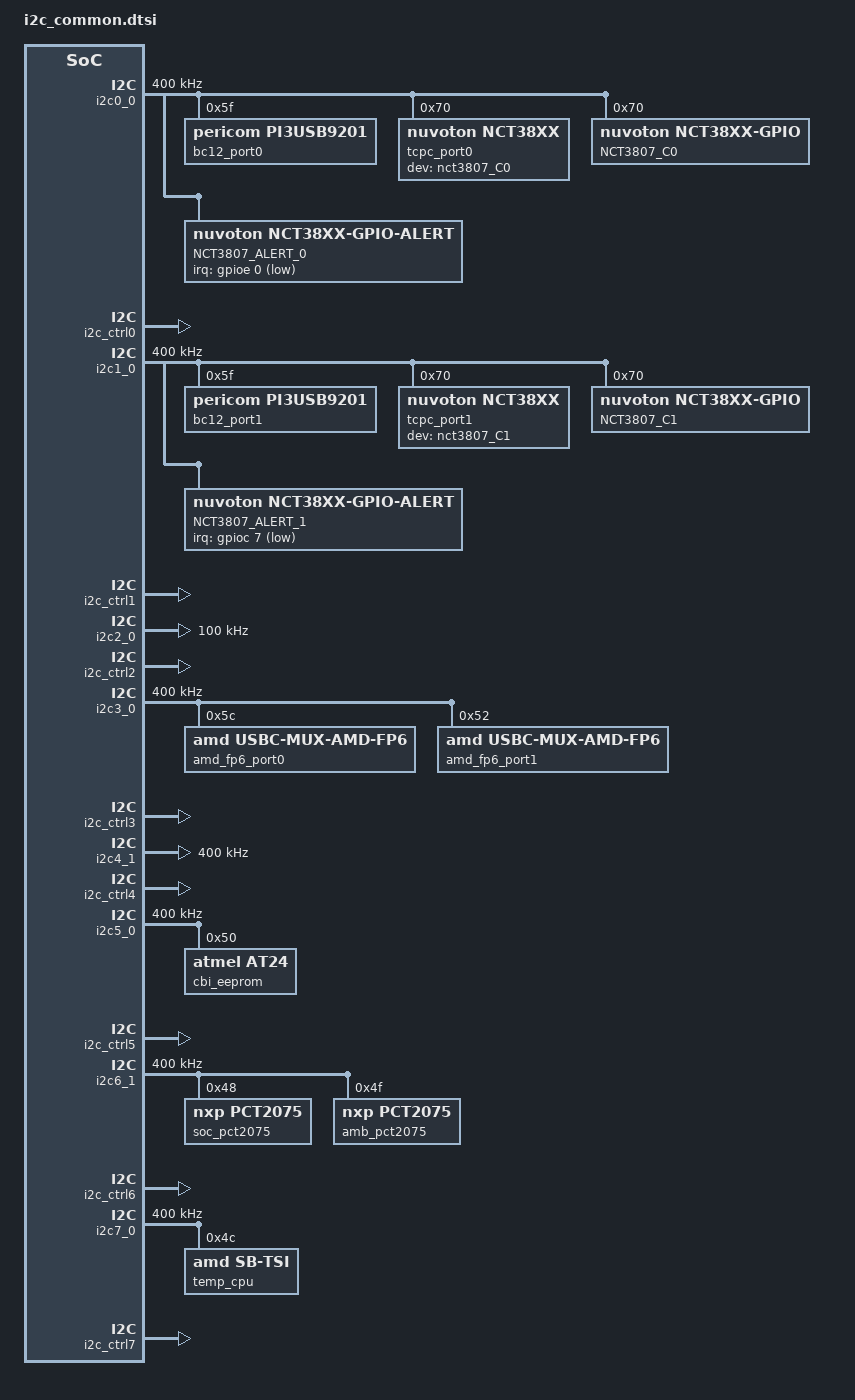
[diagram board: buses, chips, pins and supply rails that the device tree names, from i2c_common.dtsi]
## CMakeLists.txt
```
# Copyright 2021 The ChromiumOS Authors
# Use of this source code is governed by a BSD-style license that can be
# found in the LICENSE file.

cmake_minimum_required(VERSION 3.13.1)

find_package(Zephyr REQUIRED HINTS "${ZEPHYR_BASE}")

zephyr_library_sources("src/common.c")
zephyr_library_sources("src/power_signals.c")

zephyr_library_sources_ifdef(CONFIG_PLATFORM_EC_USBC
	"src/usb_pd_policy.c"
	"src/usbc_config.c")
zephyr_library_sources_ifdef(CONFIG_PLATFORM_EC_LED_COMMON
	"src/led.c")
zephyr_library_sources_ifdef(CONFIG_PLATFORM_EC_AMD_STT
	"src/stt.c")

if(DEFINED CONFIG_BOARD_SKYRIM)
	project(skyrim)
	add_subdirectory(skyrim)
endif()

if(DEFINED CONFIG_BOARD_WHITERUN)
	project(whiterun)
	add_subdirectory(whiterun)
endif()

if(DEFINED CONFIG_BOARD_FROSTFLOW)
	project(frostflow)
	add_subdirectory(frostflow)
endif()

if(DEFINED CONFIG_BOARD_CRYSTALDRIFT)
	project(crystaldrift)
	add_subdirectory(crystaldrift)
endif()

if(DEFINED CONFIG_BOARD_MARKARTH)
	project(markarth)
	add_subdirectory(markarth)
endif()
```

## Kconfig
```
# Copyright 2021 The ChromiumOS Authors
# Use of this source code is governed by a BSD-style license that can be
# found in the LICENSE file.

config BOARD_SKYRIM
	bool "Google Skyrim Board"
	help
	  Build Google Skyrim reference board.  This board uses an AMD SoC
	  and NPCX9 EC

config BOARD_WHITERUN
	bool "Google Whiterun Board"
	help
	  Build Google Whiterun reference board.  This board uses an AMD SoC
	  and NPCX9 EC

config BOARD_FROSTFLOW
	bool "Google Frostflow Board"
	help
	  Build Google Frostflow reference board.  This board uses an AMD SoC
	  and NPCX9 EC

config BOARD_CRYSTALDRIFT
	bool "Google Crystaldrift Board"
	help
	  Build Google Crystaldrift reference board.  This board uses an AMD SoC
	  and NPCX9 EC

config BOARD_MARKARTH
	bool "Google Markarth Board"
	help
	  Build Google Markarth reference board.  This board uses an AMD SoC
	  and NPCX9 EC

config BOARD_USB_HUB_RESET
	bool "Support USB hub reset or not"
	default y
	help
	  Enable this if your board has a USB hub reset GPIO connect to EC to
	  reset the USB hub.

module = SKYRIM
module-str = Skyrim board-specific code
source "subsys/logging/Kconfig.template.log_config"

source "Kconfig.zephyr"
```

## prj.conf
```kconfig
# Copyright 2021 The ChromiumOS Authors
# Use of this source code is governed by a BSD-style license that can be
# found in the LICENSE file.

CONFIG_CROS_EC=y
CONFIG_PLATFORM_EC=y
CONFIG_SHIMMED_TASKS=y
CONFIG_ESPI=y

# Shell features
CONFIG_SHELL_HELP=y
CONFIG_SHELL_HISTORY=y
CONFIG_SHELL_TAB=y
CONFIG_SHELL_TAB_AUTOCOMPLETION=y
CONFIG_KERNEL_SHELL=y

# Power sequencing
CONFIG_AP=y
CONFIG_AP_X86_AMD=y
CONFIG_PLATFORM_EC_POWERSEQ=y
CONFIG_PLATFORM_EC_POWER_BUTTON_TO_PCH_CUSTOM=y
CONFIG_PLATFORM_EC_POWER_SLEEP_FAILURE_DETECTION=y
CONFIG_PLATFORM_EC_POWERSEQ_RSMRST_DELAY=y
CONFIG_PLATFORM_EC_POWERSEQ_S0IX=y
CONFIG_PLATFORM_EC_POWERSEQ_CPU_PROCHOT_ACTIVE_LOW=y
CONFIG_PLATFORM_EC_PORT80=y

# Power button
CONFIG_PLATFORM_EC_POWER_BUTTON=y

# CBI
CONFIG_EEPROM=y
CONFIG_PLATFORM_EC_BOARD_VERSION_CBI=y

# Temperature Sensors
CONFIG_PLATFORM_EC_AMD_SB_RMI=y
CONFIG_PLATFORM_EC_AMD_STT=y
CONFIG_PLATFORM_EC_THROTTLE_AP=y
# An external prochot can only be triggered by the charger
# and during on the fan would increase current draw and make it worse.
CONFIG_PLATFORM_EC_THROTTLE_AP_NO_FAN=y
CONFIG_PLATFORM_EC_THROTTLE_AP_SINGLE_PIN=y

# External power
CONFIG_PLATFORM_EC_HOSTCMD=y
CONFIG_PLATFORM_EC_EXTPOWER_GPIO=y
CONFIG_PLATFORM_EC_BACKLIGHT_LID=y
CONFIG_PLATFORM_EC_BACKLIGHT_LID_ACTIVE_LOW=y

# Sensors
CONFIG_SENSOR=y
CONFIG_SENSOR_SHELL=n

# Lid switch
CONFIG_PLATFORM_EC_LID_ANGLE=y
CONFIG_PLATFORM_EC_LID_ANGLE_UPDATE=y
CONFIG_PLATFORM_EC_LID_SWITCH=y

# Keyboard
CONFIG_PLATFORM_EC_KBLIGHT_ENABLE_PIN=y
CONFIG_PLATFORM_EC_KEYBOARD_COL2_INVERTED=y
CONFIG_PLATFORM_EC_VOLUME_BUTTONS=y
CONFIG_PLATFORM_EC_KEYBOARD_PWRBTN_ASSERTS_KSI3=y
CONFIG_PLATFORM_EC_KEYBOARD_REFRESH_ROW3=y

# Syscon
CONFIG_SYSCON=y

# Battery
CONFIG_PLATFORM_EC_BATTERY_SMART=y
CONFIG_PLATFORM_EC_BATTERY_FUEL_GAUGE=y
CONFIG_PLATFORM_EC_BATTERY_CUT_OFF=y
CONFIG_PLATFORM_EC_BATTERY_REVIVE_DISCONNECT=y

# Charger
CONFIG_PLATFORM_EC_CHARGER_DISCHARGE_ON_AC=y
CONFIG_PLATFORM_EC_CHARGER_INPUT_CURRENT=512
CONFIG_PLATFORM_EC_CHARGER_MIN_INPUT_CURRENT_LIMIT=512
CONFIG_PLATFORM_EC_CHARGER_ISL9241=y
CONFIG_PLATFORM_EC_CHARGER_ISL9241_PROCHOT_DUMP=y
CONFIG_PLATFORM_EC_CHARGER_SENSE_RESISTOR=10
CONFIG_PLATFORM_EC_CHARGER_SENSE_RESISTOR_AC=20
CONFIG_PLATFORM_EC_CHARGER_MIN_POWER_MW_FOR_POWER_ON=50000

# USB-C
CONFIG_PLATFORM_EC_USBC_PPC_NX20P3483=y
CONFIG_PLATFORM_EC_USBC_PPC_AOZ1380=y
CONFIG_PLATFORM_EC_USBC_RETIMER_ANX7451=y
CONFIG_PLATFORM_EC_USBC_RETIMER_PS8811=y
CONFIG_PLATFORM_EC_USBC_RETIMER_PS8818=y
CONFIG_PLATFORM_EC_USBC_SS_MUX_DFP_ONLY=y
CONFIG_PLATFORM_EC_USB_MUX_AMD_FP6=y
CONFIG_PLATFORM_EC_USB_MUX_RUNTIME_CONFIG=y
CONFIG_PLATFORM_EC_USB_DRP_ACC_TRYSRC=y
CONFIG_PLATFORM_EC_USB_PID=0x505F
CONFIG_PLATFORM_EC_USB_PD_5V_EN_CUSTOM=y
CONFIG_PLATFORM_EC_USB_PD_VBUS_DETECT_TCPC=y
CONFIG_PLATFORM_EC_USB_PD_DISCHARGE_TCPC=y
CONFIG_PLATFORM_EC_USB_PD_DP_HPD_GPIO=y
CONFIG_PLATFORM_EC_USB_PD_FRS=y
CONFIG_PLATFORM_EC_USB_PD_FRS_TCPC=y
CONFIG_PLATFORM_EC_USB_PD_LOGGING=y
CONFIG_PLATFORM_EC_USB_PD_REV30=y
CONFIG_PLATFORM_EC_USB_PD_TBT_COMPAT_MODE=n
CONFIG_PLATFORM_EC_USB_PD_TCPC_LOW_POWER=y
CONFIG_PLATFORM_EC_USB_PD_TCPM_NCT38XX=y
CONFIG_PLATFORM_EC_USB_PD_TCPC_RUNTIME_CONFIG=n
CONFIG_PLATFORM_EC_USB_PD_USB4=n
CONFIG_PLATFORM_EC_USB_PD_VBUS_MEASURE_CHARGER=y
# Give ourselves enough task space to use i2ctrace
CONFIG_TASK_PD_STACK_SIZE=1280

# Motion sense
CONFIG_PLATFORM_EC_MOTIONSENSE=y
CONFIG_PLATFORM_EC_ACCEL_FIFO=y
CONFIG_PLATFORM_EC_CONSOLE_CMD_ACCELS=y
CONFIG_PLATFORM_EC_CONSOLE_CMD_ACCEL_INFO=y
CONFIG_PLATFORM_EC_LID_ANGLE=y
CONFIG_PLATFORM_EC_LID_ANGLE_UPDATE=y
CONFIG_PLATFORM_EC_SENSOR_TIGHT_TIMESTAMPS=y

CONFIG_PLATFORM_EC_MKBP_EVENT=y
CONFIG_PLATFORM_EC_MKBP_INPUT_DEVICES=y
CONFIG_PLATFORM_EC_MKBP_USE_GPIO=y

CONFIG_PLATFORM_EC_TABLET_MODE=y
CONFIG_PLATFORM_EC_TABLET_MODE_SWITCH=y
CONFIG_PLATFORM_EC_GMR_TABLET_MODE=y

CONFIG_PLATFORM_EC_ACCEL_BMA4XX=y
CONFIG_PLATFORM_EC_ACCELGYRO_BMI3XX=y
CONFIG_PLATFORM_EC_ACCELGYRO_BMI_COMM_I2C=y

# Misc.
CONFIG_PLATFORM_EC_I2C_DEBUG=y
CONFIG_PLATFORM_EC_PORT80_4_BYTE=y

# These are debug options that happen to be expensive in terms of flash space.
# Turn on as needed based on demand.
CONFIG_FLASH_PAGE_LAYOUT=n # 1876 bytes
CONFIG_FLASH_SHELL=n # 1852 bytes
CONFIG_PLATFORM_EC_CONSOLE_CMD_ACCEL_INFO=n # 656 bytes
CONFIG_PLATFORM_EC_CONSOLE_CMD_MEM=n # 896 bytes
# CONFIG_PLATFORM_EC_CONSOLE_CMD_TCPC_DUMP=n # 1180 bytes
CONFIG_PLATFORM_EC_CONSOLE_CMD_USB_PD_CABLE=n # 1104 bytes
CONFIG_THREAD_MONITOR=n # 1548 bytes
```

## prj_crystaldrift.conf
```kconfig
# Copyright 2022 The ChromiumOS Authors
# Use of this source code is governed by a BSD-style license that can be
# found in the LICENSE file.

# Crystaldrift reference-board-specific Kconfig settings.
CONFIG_BOARD_CRYSTALDRIFT=y

# CBI WP pin present
CONFIG_PLATFORM_EC_EEPROM_CBI_WP=y

# LED
CONFIG_PLATFORM_EC_LED_DT=y

# Crystaldrfit is capable of sinking 100W
CONFIG_PLATFORM_EC_PD_MAX_POWER_MW=100000
CONFIG_PLATFORM_EC_PD_MAX_CURRENT_MA=5000
CONFIG_PLATFORM_EC_PD_MAX_VOLTAGE_MV=20000

# Enable alternative charger chip
CONFIG_PLATFORM_EC_CHARGER_RUNTIME_CONFIG=y
CONFIG_PLATFORM_EC_CHARGER_ISL9238C=y

# Battery
CONFIG_PLATFORM_EC_BATTERY_PRESENT_GPIO=y
```

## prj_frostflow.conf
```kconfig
# Copyright 2022 The ChromiumOS Authors
# Use of this source code is governed by a BSD-style license that can be
# found in the LICENSE file.

# Frostflow reference-board-specific Kconfig settings.
CONFIG_BOARD_FROSTFLOW=y
CONFIG_PLATFORM_EC_CHARGER_INPUT_CURRENT_DERATE_PCT=10

# TODO(b/215404321): Remove later in board development
CONFIG_PLATFORM_EC_EEPROM_CBI_WP=y
CONFIG_PLATFORM_EC_SYSTEM_UNLOCKED=n

# Frostflow is capable of sinking 45W
CONFIG_PLATFORM_EC_PD_MAX_POWER_MW=45000
CONFIG_PLATFORM_EC_PD_MAX_CURRENT_MA=3000
CONFIG_PLATFORM_EC_PD_MAX_VOLTAGE_MV=20000
CONFIG_PLATFORM_EC_CHARGER_MIN_POWER_MW_FOR_POWER_ON=15000

# Keyboard
CONFIG_PLATFORM_EC_KEYBOARD_CUSTOMIZATION=y

# Frostflow not have the USB HUB
CONFIG_BOARD_USB_HUB_RESET=n

# Battery
CONFIG_PLATFORM_EC_BATTERY_PRESENT_GPIO=y
```

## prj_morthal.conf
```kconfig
# Copyright 2022 The ChromiumOS Authors
# Use of this source code is governed by a BSD-style license that can be
# found in the LICENSE file.

# Morthal reference-board-specific Kconfig settings.
CONFIG_BOARD_MORTHAL=y

# TODO(b/215404321): Remove later in board development
CONFIG_PLATFORM_EC_EEPROM_CBI_WP=y
CONFIG_PLATFORM_EC_SYSTEM_UNLOCKED=y

# LED
CONFIG_PLATFORM_EC_LED_DT=y

# Morthal is capable of sinking 100W
CONFIG_PLATFORM_EC_PD_MAX_POWER_MW=100000
CONFIG_PLATFORM_EC_PD_MAX_CURRENT_MA=5000
CONFIG_PLATFORM_EC_PD_MAX_VOLTAGE_MV=20000

# Battery
CONFIG_PLATFORM_EC_BATTERY_PRESENT_GPIO=y
```

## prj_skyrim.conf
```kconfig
# Copyright 2021 The ChromiumOS Authors
# Use of this source code is governed by a BSD-style license that can be
# found in the LICENSE file.

# Skyrim reference-board-specific Kconfig settings.
CONFIG_BOARD_SKYRIM=y

# CBI WP pin present
CONFIG_PLATFORM_EC_EEPROM_CBI_WP=y

# LED
CONFIG_PLATFORM_EC_LED_DT=y

# Skyrim is capable of sinking 100W
CONFIG_PLATFORM_EC_PD_MAX_POWER_MW=100000
CONFIG_PLATFORM_EC_PD_MAX_CURRENT_MA=5000
CONFIG_PLATFORM_EC_PD_MAX_VOLTAGE_MV=20000

# Enable alternative charger chip
CONFIG_PLATFORM_EC_CHARGER_RUNTIME_CONFIG=y
CONFIG_PLATFORM_EC_CHARGER_ISL9238C=y

# Battery
CONFIG_PLATFORM_EC_BATTERY_PRESENT_GPIO=y
```

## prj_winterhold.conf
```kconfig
# Copyright 2022 The ChromiumOS Authors
# Use of this source code is governed by a BSD-style license that can be
# found in the LICENSE file.

# Winterhold reference-board-specific Kconfig settings.
CONFIG_BOARD_WINTERHOLD=y

# TODO(b/215404321): Remove later in board development
CONFIG_PLATFORM_EC_EEPROM_CBI_WP=y
CONFIG_PLATFORM_EC_SYSTEM_UNLOCKED=y

CONFIG_PLATFORM_EC_USBC_RETIMER_ANX7483=y

# Enable charger chip
CONFIG_PLATFORM_EC_CHARGER_ISL9238=y
CONFIG_PLATFORM_EC_CHARGER_ISL9241=n

# Get the vbus voltage from TCPC
CONFIG_PLATFORM_EC_USB_PD_VBUS_MEASURE_CHARGER=n
CONFIG_PLATFORM_EC_USB_PD_VBUS_MEASURE_TCPC=y

# Remove unused sensor
CONFIG_PLATFORM_EC_ACCEL_BMA4XX=n

# Support LIS2DW12 sensor
CONFIG_PLATFORM_EC_ACCEL_LIS2DW12=y

# Disable lid configuration
CONFIG_PLATFORM_EC_LID_ANGLE=n
CONFIG_PLATFORM_EC_LID_ANGLE_UPDATE=n

# Disable tablet mode configuration
CONFIG_PLATFORM_EC_TABLET_MODE=n
CONFIG_PLATFORM_EC_TABLET_MODE_SWITCH=n
CONFIG_PLATFORM_EC_GMR_TABLET_MODE=n

# Battery
CONFIG_PLATFORM_EC_BATTERY_HW_PRESENT_CUSTOM=y

# Body detection configuration
CONFIG_PLATFORM_EC_BODY_DETECTION=y
CONFIG_PLATFORM_EC_BODY_DETECTION_ALWAYS_ENABLE_IN_S0=y
CONFIG_PLATFORM_EC_BODY_DETECTION_NOTIFY_MODE_CHANGE=y
CONFIG_PLATFORM_EC_GESTURE_HOST_DETECTION=y
```

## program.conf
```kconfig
# Copyright 2021 The ChromiumOS Authors
# Use of this source code is governed by a BSD-style license that can be
# found in the LICENSE file.

CONFIG_CROS_EC=y
CONFIG_PLATFORM_EC=y
CONFIG_ESPI=y

# Shell features
CONFIG_SHELL_HISTORY=y
CONFIG_SHELL_TAB=y
CONFIG_SHELL_TAB_AUTOCOMPLETION=y
CONFIG_KERNEL_SHELL=y

# Power sequencing
CONFIG_AP=y
CONFIG_AP_X86_AMD=y
CONFIG_PLATFORM_EC_CHIPSET_RESET_HOOK=y
CONFIG_PLATFORM_EC_POWERSEQ=y
CONFIG_PLATFORM_EC_POWER_BUTTON_TO_PCH_CUSTOM=y
CONFIG_PLATFORM_EC_POWER_SLEEP_FAILURE_DETECTION=y
CONFIG_PLATFORM_EC_POWERSEQ_RSMRST_DELAY=y
CONFIG_PLATFORM_EC_POWERSEQ_S0IX=y
CONFIG_PLATFORM_EC_POWERSEQ_CPU_PROCHOT_ACTIVE_LOW=y
CONFIG_PLATFORM_EC_PORT80=y

# Power button
CONFIG_PLATFORM_EC_POWER_BUTTON=y

# CBI
CONFIG_EEPROM=y
CONFIG_PLATFORM_EC_BOARD_VERSION_CBI=y
CONFIG_PLATFORM_EC_EEPROM_CBI_WP=y

# Temperature Sensors
CONFIG_PLATFORM_EC_AMD_SB_RMI=y
CONFIG_PLATFORM_EC_AMD_STT=y
CONFIG_PLATFORM_EC_THROTTLE_AP=y
# An external prochot can only be triggered by the charger
# and during on the fan would increase current draw and make it worse.
CONFIG_PLATFORM_EC_THROTTLE_AP_NO_FAN=y
CONFIG_PLATFORM_EC_THROTTLE_AP_SINGLE_PIN=y

# External power
CONFIG_PLATFORM_EC_HOSTCMD=y
CONFIG_PLATFORM_EC_EXTPOWER_GPIO=y
CONFIG_PLATFORM_EC_BACKLIGHT_LID=y
CONFIG_PLATFORM_EC_BACKLIGHT_LID_ACTIVE_LOW=y

# Lid switch
CONFIG_PLATFORM_EC_LID_ANGLE=y
CONFIG_PLATFORM_EC_LID_ANGLE_UPDATE=y
CONFIG_PLATFORM_EC_LID_SWITCH=y

# Keyboard
CONFIG_PLATFORM_EC_KEYBOARD_PROTOCOL_8042=y
CONFIG_PLATFORM_EC_KBLIGHT_ENABLE_PIN=y
CONFIG_PLATFORM_EC_KBLIGHT_HOOK_INIT=y
CONFIG_PLATFORM_EC_KEYBOARD_COL2_INVERTED=y
CONFIG_PLATFORM_EC_VOLUME_BUTTONS=y
CONFIG_PLATFORM_EC_KEYBOARD_REFRESH_ROW3=y

# Syscon
CONFIG_SYSCON=y

# Battery
CONFIG_PLATFORM_EC_BATTERY_FUEL_GAUGE=y
CONFIG_PLATFORM_EC_BATTERY_CUT_OFF=y
CONFIG_PLATFORM_EC_BATTERY_REVIVE_DISCONNECT=y
CONFIG_PLATFORM_EC_SMBUS_PEC=y

# Charger
CONFIG_PLATFORM_EC_CHARGER_DISCHARGE_ON_AC=y
CONFIG_PLATFORM_EC_CHARGER_DEFAULT_CURRENT_LIMIT=512
CONFIG_PLATFORM_EC_CHARGER_ISL9241=y
CONFIG_PLATFORM_EC_CHARGER_DUMP_PROCHOT=y
CONFIG_PLATFORM_EC_CHARGER_SENSE_RESISTOR=10
CONFIG_PLATFORM_EC_CHARGER_SENSE_RESISTOR_AC=20
CONFIG_PLATFORM_EC_CHARGER_SET_FREQUENCY=y
CONFIG_PLATFORM_EC_CHARGER_MIN_POWER_MW_FOR_POWER_ON=50000
CONFIG_PLATFORM_EC_CHARGER_AC_PROCHOT_CURRENT_MA=3328
CONFIG_PLATFORM_EC_CHARGER_DC_PROCHOT_CURRENT_MA=6570

# USB-C
CONFIG_PLATFORM_EC_USBC_RETIMER_ANX7451=y
CONFIG_PLATFORM_EC_USBC_RETIMER_PS8811=y
CONFIG_PLATFORM_EC_USBC_SS_MUX_DFP_ONLY=y
CONFIG_PLATFORM_EC_USB_MUX_RUNTIME_CONFIG=y
CONFIG_PLATFORM_EC_USB_DRP_ACC_TRYSRC=y
CONFIG_PLATFORM_EC_USB_PID=0x505F
CONFIG_PLATFORM_EC_USB_PD_5V_EN_CUSTOM=y
CONFIG_PLATFORM_EC_USB_PD_VBUS_DETECT_TCPC=y
CONFIG_PLATFORM_EC_USB_PD_DISCHARGE_TCPC=y
CONFIG_PLATFORM_EC_USB_PD_DP_HPD_GPIO=y
CONFIG_PLATFORM_EC_USB_PD_FRS=y
CONFIG_PLATFORM_EC_USB_PD_FRS_TCPC=y
CONFIG_PLATFORM_EC_USB_PD_LOGGING=y
CONFIG_PLATFORM_EC_USB_PD_REV30=y
CONFIG_PLATFORM_EC_USB_PD_TBT_COMPAT_MODE=n
CONFIG_PLATFORM_EC_USB_PD_TCPC_LOW_POWER=y
CONFIG_PLATFORM_EC_USB_PD_TCPC_RUNTIME_CONFIG=n
CONFIG_PLATFORM_EC_USB_PD_USB4=n
CONFIG_PLATFORM_EC_USB_PD_VBUS_MEASURE_CHARGER=y
# Give ourselves enough task space to use i2ctrace
CONFIG_TASK_PD_STACK_SIZE=1280

# Motion sense
CONFIG_PLATFORM_EC_MAX_SENSOR_FREQ_MILLIHZ=100000
CONFIG_PLATFORM_EC_ACCEL_FIFO=y
CONFIG_PLATFORM_EC_CONSOLE_CMD_ACCELS=y
CONFIG_PLATFORM_EC_CONSOLE_CMD_ACCEL_INFO=y
CONFIG_PLATFORM_EC_LID_ANGLE=y
CONFIG_PLATFORM_EC_LID_ANGLE_UPDATE=y
CONFIG_PLATFORM_EC_SENSOR_TIGHT_TIMESTAMPS=y

CONFIG_PLATFORM_EC_MKBP_EVENT=y
CONFIG_PLATFORM_EC_MKBP_INPUT_DEVICES=y
CONFIG_PLATFORM_EC_MKBP_USE_GPIO=y

CONFIG_PLATFORM_EC_TABLET_MODE=y
CONFIG_PLATFORM_EC_TABLET_MODE_SWITCH=y
CONFIG_PLATFORM_EC_GMR_TABLET_MODE=y

CONFIG_PLATFORM_EC_ACCELGYRO_BMI3XX=y
CONFIG_PLATFORM_EC_ACCELGYRO_BMI_COMM_I2C=y

# Misc.
CONFIG_PLATFORM_EC_AMD_STB_DUMP=y
CONFIG_PLATFORM_EC_EMULATED_SYSRQ=y
CONFIG_PLATFORM_EC_PORT80_4_BYTE=y
# I2C passthrough isn't used on skyrim
CONFIG_PLATFORM_EC_I2C_PASSTHRU_RESTRICTED=y

# Panic Log for improved panic debugging
CONFIG_PLATFORM_EC_PANIC_LOG=y

# Watchdog
CONFIG_PLATFORM_EC_WATCHDOG_PERIOD_MS=2000

# These are debug options that happen to be expensive in terms of flash space.
# Turn on as needed based on demand.
CONFIG_PLATFORM_EC_ACCEL_SPOOF_MODE=y # 548 bytes
CONFIG_PLATFORM_EC_CONSOLE_CMD_ACCEL_INFO=n # 656 bytes
CONFIG_PLATFORM_EC_CONSOLE_CMD_MEM=n # 896 bytes
CONFIG_PLATFORM_EC_CONSOLE_CMD_TCPC_DUMP=n # 1180 bytes
CONFIG_PLATFORM_EC_CONSOLE_CMD_USB_PD_CABLE=n # 1104 bytes
CONFIG_SHELL_HELP=n # 3432 bytes
CONFIG_THREAD_MONITOR=n # 1548 bytes
CONFIG_PLATFORM_EC_DEBUG_ASSERT=n

# Upstream Zephyr Host Command
CONFIG_EC_HOST_CMD=y
```

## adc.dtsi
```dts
/* Copyright 2021 The ChromiumOS Authors
 * Use of this source code is governed by a BSD-style license that can be
 * found in the LICENSE file.
 */

#include <cros/thermistor/thermistor.dtsi>

/ {
	named-adc-channels {
		compatible = "named-adc-channels";

		adc_temp_charger: temp-charger {
			enum-name = "ADC_TEMP_SENSOR_CHARGER";
			io-channels = <&adc0 1>;
		};
		adc_temp_memory: temp-memory {
			enum-name = "ADC_TEMP_SENSOR_MEMORY";
			io-channels = <&adc0 2>;
		};
		adc_core_imon1: core-imon1 {
			enum-name = "ADC_CORE_IMON1";
			io-channels = <&adc0 3>;
		};
		adc_core_imon2: core-imon2 {
			enum-name = "ADC_SOC_IMON2";
			io-channels = <&adc0 4>;
		};
	};

	temp_charger_thermistor: charger-thermistor {
		compatible = "cros-ec,temp-sensor-thermistor";
		thermistor = <&thermistor_3V3_30K9_47K_4050B>;
		adc = <&adc_temp_charger>;
	};

	temp_memory_thermistor: memory-thermistor {
		compatible = "cros-ec,temp-sensor-thermistor";
		thermistor = <&thermistor_3V3_30K9_47K_4050B>;
		adc = <&adc_temp_memory>;
	};

	named-temp-sensors {
		compatible = "cros-ec,temp-sensors";
		temp_sensor_charger: charger-thermistor {
			temp-host-high = <100>;
			temp-host-halt = <105>;
			temp-host-release-high = <80>;
			sensor = <&temp_charger_thermistor>;
		};

		temp_sensor_memory: memory-thermistor {
			temp-host-high = <100>;
			temp-host-halt = <105>;
			temp-host-release-high = <80>;
			power-good-pin = <&gpio_pg_pwr_s5>;
			sensor = <&temp_memory_thermistor>;
		};

		temp_sensor_cpu: cpu {
			temp-host-high = <100>;
			temp-host-halt = <105>;
			temp-host-release-high = <80>;
			temp-fan-off = <60>;
			temp-fan-max = <90>;
			power-good-pin = <&gpio_s0_pgood>;
			sensor = <&temp_cpu>;
		};
	};
};

&adc0 {
	status = "okay";
	pinctrl-0 = <&adc0_chan1_gp44
		     &adc0_chan2_gp43
		     &adc0_chan3_gp42
		     &adc0_chan4_gp41>;
	pinctrl-names = "default";
};

&thermistor_3V3_30K9_47K_4050B {
	status = "okay";
};
```

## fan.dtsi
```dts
/* Copyright 2021 The ChromiumOS Authors
 * Use of this source code is governed by a BSD-style license that can be
 * found in the LICENSE file.
 */

/ {
	fans {
		compatible = "cros-ec,fans";

		fan0: fan_0 {
			pwms = <&pwm0 0 PWM_KHZ(25) PWM_POLARITY_NORMAL>;
			rpm-min = <3100>;
			rpm-start = <3100>;
			rpm-max = <8000>;
			tach = <&tach1>;
			pgood-gpio = <&gpio_s0_pgood>;
		};
	};
};

/* Tachemeter for fan speed measurement */
&tach1 {
	status = "okay";
	pinctrl-0 = <&ta1_1_in_gp40>;
	pinctrl-names = "default";
	port = <NPCX_TACH_PORT_A>; /* port-A is selected */
	sample-clk = <NPCX_TACH_FREQ_LFCLK>; /* Use LFCLK as sampling clock */
	pulses-per-round = <2>; /* number of pulses per round of encoder */
};

&pwm0_gpc3 {
	drive-open-drain;
};

&pwm0 {
	status = "okay";
	pinctrl-0 = <&pwm0_gpc3>;
	pinctrl-names = "default";
};
```

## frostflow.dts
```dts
/* Copyright 2022 The ChromiumOS Authors
 * Use of this source code is governed by a BSD-style license that can be
 * found in the LICENSE file.
 */

#include <dt-bindings/usbc_mux.h>

#include "i2c_common.dtsi"

/ {
	named-gpios {
		/* Frostflow-specific GPIO customizations */
	};

	named-temp-sensors {
		compatible = "cros-ec,temp-sensors";
		temp_soc: soc-pct2075 {
			temp_host_high = <75>;
			temp_host_halt = <80>;
			temp_host_release_high = <65>;
			temp_host_release_halt = <70>;
			power-good-pin = <&gpio_pg_pwr_s5>;
			sensor = <&soc_pct2075>;
		};
		temp_amb: amb-pct2075 {
			temp_host_high = <65>;
			temp_host_halt = <70>;
			temp_host_release_high = <55>;
			temp_host_release_halt = <60>;
			temp_fan_off = <32>;
			temp_fan_max = <45>;
			power-good-pin = <&gpio_pg_pwr_s5>;
			sensor = <&amb_pct2075>;
		};
	};

	/* Rotation matrices for motion sensors. */
	motionsense-rotation-ref {
		compatible = "cros-ec,motionsense-rotation-ref";
		lid_rot_ref: lid-rotation-ref {
			mat33 = <1 0 0
				 0 1 0
				 0 0 1>;
		};

		base_rot_ref: base-rotation-ref {
			mat33 = <0 1 0
				 1 0 0
				 0 0 (-1)>;
		};
	};

	ppc_port0: aoz1380 {
		compatible = "aoz,aoz1380";
		status = "okay";
	};

	fan_steps {
		compatible = "cros-ec,fan-steps";
		level_0 {
			temp_on = <(-1) (-1) (-1) (-1) 31>;
			temp_off = <(-1) (-1) (-1) (-1) 99>;
			rpm_target = <0>;
		};
		level_1 {
			temp_on = <(-1) (-1) (-1) (-1) 32>;
			temp_off = <(-1) (-1) (-1) (-1) 30>;
			rpm_target = <2600>;
		};
		level_2 {
			temp_on = <(-1) (-1) (-1) (-1) 34>;
			temp_off = <(-1) (-1) (-1) (-1) 31>;
			rpm_target = <2900>;
		};
		level_3 {
			temp_on = <(-1) (-1) (-1) (-1) 36>;
			temp_off = <(-1) (-1) (-1) (-1) 33>;
			rpm_target = <3600>;
		};
		level_4 {
			temp_on = <(-1) (-1) (-1) (-1) 38>;
			temp_off = <(-1) (-1) (-1) (-1) 35>;
			rpm_target = <4200>;
		};
		level_5 {
			temp_on = <(-1) (-1) (-1) (-1) 45>;
			temp_off = <(-1) (-1) (-1) (-1) 37>;
			rpm_target = <4600>;
		};
	};
};

&i2c1_0 {
	ppc_port1: nx20p348x@71 {
		compatible = "nxp,nx20p348x";
		status = "okay";
		reg = <0x71>;
	};
	ps8818_port1: ps8818@28 {
		compatible = "parade,ps8818";
		reg = <0x28>;
		flags = <(USB_MUX_FLAG_RESETS_IN_G3)>;
		board-set = "board_c1_ps8818_mux_set";
	};
};

&i2c4_1 {
	charger: isl9241@9 {
		compatible = "intersil,isl9241";
		status = "okay";
		reg = <0x9>;
	};
};

&amd_fp6_port0 {
	board-set = "board_c0_amd_fp6_mux_set";
};

&usbc_port0 {
	ppc = <&ppc_port0>;
	usb-mux-chain-0 {
		compatible = "cros-ec,usb-mux-chain";
		usb-muxes = <&amd_fp6_port0>;
	};
};

&usbc_port1 {
	ppc = <&ppc_port1>;
	usb-mux-chain-1-ps8818 {
		compatible = "cros-ec,usb-mux-chain";
		usb-muxes = <&amd_fp6_port1 &ps8818_port1>;
	};
};

&cros_kb_raw {
	pinctrl-0 = <
		&ksi0_gp31
		&ksi1_gp30
		&ksi2_gp27
		&ksi3_gp26
		&ksi4_gp25
		&ksi5_gp24
		&ksi6_gp23
		&ksi7_gp22
		&kso00_gp21
		&kso01_gp20
		&kso03_gp16
		&kso04_gp15
		&kso05_gp14
		&kso06_gp13
		&kso07_gp12
		&kso08_gp11
		&kso09_gp10
		&kso10_gp07
		&kso11_gp06
		&kso12_gp05
		&kso13_gp04
		&kso14_gp82
	>;
};

&temp_sensor_charger {
	temp_host_high = <75>;
	temp_host_halt = <80>;
	temp_host_release_high = <65>;
	temp_host_release_halt = <70>;
};

&temp_sensor_memory {
	temp_host_high = <75>;
	temp_host_halt = <80>;
	temp_host_release_high = <65>;
	temp_host_release_halt = <70>;
};

&temp_sensor_cpu {
	/delete-property/ temp_host_high;
	/delete-property/ temp_host_halt;
	/delete-property/ temp_host_release_high;
	/delete-property/ temp_fan_off;
	/delete-property/ temp_fan_max;
};

&fan0 {
	pwms = <&pwm0 0 PWM_KHZ(25) PWM_POLARITY_NORMAL>;
	rpm_min = <2400>;
	rpm_start = <2600>;
	rpm_max = <4600>;
};
```

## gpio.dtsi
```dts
<<<<<<< HEAD   (c8af73 Revert "Merge remote-tracking branch cros/main into factory-)
=======
/* Copyright 2021 The ChromiumOS Authors
 * Use of this source code is governed by a BSD-style license that can be
 * found in the LICENSE file.
 */

/ {
	aliases {
		gpio-wp = &gpio_wp;
		gpio-cbi-wp = &gpio_cbi_wp;
		gpio-kbd-kso2 = &gpio_ec_kso_02_inv;
	};

	/* GPIOs shared by all boards */
	named-gpios {
		compatible = "named-gpios";

		ccd_mode_odl {
			gpios = <&gpioc 6 GPIO_ODR_HIGH>;
		};
		ec_gsc_packet_mode {
			gpios = <&gpiob 1 GPIO_OUTPUT_LOW>;
			enum-name = "GPIO_PACKET_MODE_EN";
		};
		gpio_mech_pwr_btn_odl: mech_pwr_btn_odl {
			gpios = <&gpiod 2 GPIO_INPUT>;
			enum-name = "GPIO_POWER_BUTTON_L";
		};
		gpio_slp_s3_l: slp_s3_l {
			gpios = <&gpio6 1 GPIO_INPUT>;
			enum-name = "GPIO_PCH_SLP_S3_L";
			alias = "GPIO_PCH_SLP_S0_L";
		};
		gpio_slp_s5_l: slp_s5_l {
			gpios = <&gpio7 2 GPIO_INPUT>;
			enum-name = "GPIO_PCH_SLP_S5_L";
		};
		gpio_pg_pwr_s5: pg_pwr_s5 {
			gpios = <&gpioc 0 GPIO_INPUT>;
			enum-name = "GPIO_S5_PGOOD";
		};
		gpio_s0_pgood: pg_pcore_s0_r_od {
			gpios = <&gpiob 6 GPIO_INPUT>;
			enum-name = "GPIO_S0_PGOOD";
		};
		gpio_acok_od: acok_od {
			gpios = <&gpio0 0 GPIO_INPUT>;
			enum-name = "GPIO_AC_PRESENT";
		};
		gpio_en_pwr_s5: en_pwr_s5 {
			gpios = <&gpiob 7 GPIO_OUTPUT_LOW>;
			enum-name = "GPIO_EN_PWR_A";
		};
		gpio_en_pwr_s0_r: en_pwr_s0_r {
			gpios = <&gpiof 1 GPIO_OUTPUT_LOW>;
		};
		gpio_en_pwr_pcore_s0_r: en_pwr_pcore_s0_r {
			gpios = <&gpioe 1 GPIO_OUTPUT_LOW>;
		};
		ec_sys_rst_l {
			gpios = <&gpio7 6 GPIO_ODR_HIGH>;
			enum-name = "GPIO_SYS_RESET_L";
		};
		gpio_ec_soc_rsmrst_l: ec_soc_rsmrst_l {
			gpios = <&gpioc 5 GPIO_OUTPUT_LOW>;
			enum-name = "GPIO_PCH_RSMRST_L";
		};
		gpio_ec_pch_wake_odl: ec_soc_wake_l {
			gpios = <&gpio0 3 GPIO_OUTPUT_HIGH>;
		};
		gpio_prochot_odl: prochot_odl {
			gpios = <&gpiod 5 GPIO_ODR_HIGH>;
			enum-name = "GPIO_CPU_PROCHOT";
		};
		soc_alert_ec_l {
			gpios = <&gpioe 2 GPIO_INPUT>;
		};
		gpio_usb_c0_tcpc_int_odl: usb_c0_tcpc_int_odl {
			gpios = <&gpioe 0 GPIO_INPUT>;
			enum-name = "GPIO_USB_C0_TCPC_INT_ODL";
		};
		gpio_usb_c1_tcpc_int_odl: usb_c1_tcpc_int_odl {
			gpios = <&gpioc 7 GPIO_INPUT>;
			enum-name = "GPIO_USB_C1_TCPC_INT_ODL";
		};
		gpio_usb_c0_ppc_int_odl: usb_c0_ppc_int_odl {
			gpios = <&gpio7 5 GPIO_INPUT>;
			enum-name = "GPIO_USB_C0_PPC_INT_ODL";
		};
		gpio_usb_c1_ppc_int_odl: usb_c1_ppc_int_odl {
			gpios = <&gpiod 4 GPIO_INPUT>;
			enum-name = "GPIO_USB_C1_PPC_INT_ODL";
		};
		gpio_usb_c0_bc12_int_odl: usb_c0_bc12_int_odl {
			gpios = <&gpioa 4 GPIO_INPUT_PULL_UP>;
			enum-name = "GPIO_USB_C0_BC12_INT_ODL";
		};
		gpio_usb_c1_bc12_int_odl: usb_c1_bc12_int_odl {
			gpios = <&gpio9 6 GPIO_INPUT_PULL_UP>;
			enum-name = "GPIO_USB_C1_BC12_INT_ODL";
		};
		gpio_usb_c0_tcpc_rst_l: usb_c0_tcpc_rst_l {
			gpios = <&gpio3 4 GPIO_OUTPUT_HIGH>;
			enum-name = "GPIO_USB_C0_TCPC_RST_L";
		};
		gpio_usb_c1_tcpc_rst_l: usb_c1_tcpc_rst_l {
			gpios = <&gpio3 7 GPIO_OUTPUT_HIGH>;
			enum-name = "GPIO_USB_C1_TCPC_RST_L";
		};
		usb_c0_hpd {
			gpios = <&gpiof 5 GPIO_OUTPUT_LOW>;
			enum-name = "GPIO_USB_C0_DP_HPD";
		};
		usb_c1_hpd {
			gpios = <&gpiof 4 GPIO_OUTPUT_LOW>;
			enum-name = "GPIO_USB_C1_DP_HPD";
		};
		gpio_lid_open: lid_open {
			gpios = <&gpio0 2 GPIO_INPUT>;
			enum-name = "GPIO_LID_OPEN";
		};
		gpio_ec_batt_pres_odl: ec_batt_pres_odl {
			gpios = <&gpio9 4 GPIO_INPUT>;
			enum-name = "GPIO_BATT_PRES_ODL";
		};
		gpio_ec_disable_disp_bl: ec_disable_disp_bl {
			gpios = <&gpioa 6 GPIO_OUTPUT_HIGH>;
			enum-name = "GPIO_ENABLE_BACKLIGHT_L";
		};
		gpio_usb_fault_odl: usb_fault_odl {
			gpios = <&gpio5 0 (GPIO_ODR_HIGH | GPIO_VOLTAGE_1P8)>;
		};
		gpio_en_pwr_s3: en_pwr_s3 {
			gpios = <&gpio7 4 GPIO_OUTPUT_LOW>;
		};
		gpio_pg_groupc_s0_od: pg_groupc_s0_od {
			gpios = <&gpiof 0 GPIO_INPUT>;
		};
		gpio_ec_i2c_usbc_pd_int: ec_i2c_usbc_pd_int {
			gpios = <&gpioa 3 GPIO_INPUT>;
		};
		gpio_soc_thermtrip_odl: soc_thermtrip_odl {
			gpios = <&gpio9 5 GPIO_INPUT>;
		};
		gpio_hub_rst: hub_rst {
			gpios = <&gpio6 6 GPIO_OUTPUT_HIGH>;
		};
		ec_soc_int_l {
			gpios = <&gpioa 1 GPIO_OUTPUT_HIGH>;
			enum-name = "GPIO_EC_INT_L";
		};
		gpio_ec_soc_pwr_good: ec_soc_pwr_good {
			gpios = <&gpiod 3 GPIO_OUTPUT_LOW>;
		};
		gpio_pcore_ocp_r_l: pcore_ocp_r_l {
			gpios = <&gpioa 5 GPIO_INPUT>;
		};
		gpio_usb_hub_fault_q_odl: usb_hub_fault_q_odl {
			gpios = <&gpioe 5 GPIO_INPUT_PULL_UP>;
		};
		gpio_pg_lpddr5_s3_od: pg_lpddr5_s3_od {
			gpios = <&gpio7 3 GPIO_INPUT>;
		};
		3axis_int_l {
			gpios = <&gpioa 2 GPIO_INPUT_PULL_UP>;
		};
		gpio_ec_soc_pwr_btn_l: ec_soc_pwr_btn_l {
			gpios = <&gpioa 7 GPIO_OUTPUT_HIGH>;
			enum-name = "GPIO_PCH_PWRBTN_L";
		};
		gpio_volup_btn_odl: volup_btn_odl {
			gpios = <&gpio6 7 GPIO_INPUT_PULL_UP>;
			enum-name = "GPIO_VOLUME_UP_L";
		};
		gpio_voldn_btn_odl: voldn_btn_odl {
			gpios = <&gpio7 0 GPIO_INPUT_PULL_UP>;
			enum-name = "GPIO_VOLUME_DOWN_L";
		};
		ec_sc_rst {
			gpios = <&gpiob 0 GPIO_OUTPUT_LOW>;
		};
		gpio_cbi_wp: ec_cbi_wp {
			gpios = <&gpio8 1 GPIO_OUTPUT_LOW>;
		};
		gpio_wp: ec_wp_l {
			gpios = <&gpiod 7 (GPIO_INPUT | GPIO_ACTIVE_LOW)>;
		};
		gpio_pg_lpddr5_s0_od: pg_lpddr5_s0_od {
			gpios = <&gpio6 0 GPIO_INPUT>;
		};
		ec_espi_rst_l {
			gpios = <&gpio5 4 GPIO_PULL_DOWN>;
		};
		gpio_accel_gyro_int_l: accel_gyro_int_l {
			gpios = <&gpioa 0 GPIO_INPUT>;
		};
		/* unimplemented GPIOs */
		entering-rw {
			enum-name = "GPIO_ENTERING_RW";
		};
		pch-sys-prwok {
			enum-name = "GPIO_PCH_SYS_PWROK";
		};
		ec_i2c_usb_a0_c0_scl {
			gpios = <&gpiob 5 GPIO_INPUT>;
		};
		ec_i2c_usb_a0_c0_sda {
			gpios = <&gpiob 4 GPIO_INPUT>;
		};
		ec_i2c_usb_a1_c1_scl {
			gpios = <&gpio9 0 GPIO_INPUT>;
		};
		ec_i2c_usb_a1_c1_sda {
			gpios = <&gpio8 7 GPIO_INPUT>;
		};
		ec_i2c_batt_scl {
			gpios = <&gpio9 2 (GPIO_INPUT | GPIO_VOLTAGE_1P8)>;
		};
		ec_i2c_batt_sda {
			gpios = <&gpio9 1 (GPIO_INPUT | GPIO_VOLTAGE_1P8)>;
		};
		ec_i2c_usbc_mux_scl {
			gpios = <&gpiod 1 GPIO_INPUT>;
		};
		ec_i2c_usbc_mux_sda {
			gpios = <&gpiod 0 GPIO_INPUT>;
		};
		ec_i2c_power_scl {
			gpios = <&gpiof 3 GPIO_INPUT>;
		};
		ec_i2c_power_sda {
			gpios = <&gpiof 2 GPIO_INPUT>;
		};
		ec_i2c_cbi_scl {
			gpios = <&gpio3 3 GPIO_INPUT>;
		};
		ec_i2c_cbi_sda {
			gpios = <&gpio3 6 GPIO_INPUT>;
		};
		ec_i2c_sensor_scl {
			gpios = <&gpioe 4 (GPIO_INPUT | GPIO_VOLTAGE_1P8)>;
		};
		ec_i2c_sensor_sda {
			gpios = <&gpioe 3 (GPIO_INPUT | GPIO_VOLTAGE_1P8)>;
		};
		ec_i2c_soc_sic {
			gpios = <&gpiob 3 (GPIO_INPUT | GPIO_VOLTAGE_1P8)>;
		};
		ec_i2c_soc_sid {
			gpios = <&gpiob 2 (GPIO_INPUT | GPIO_VOLTAGE_1P8)>;
		};
		en_kb_bl {
			gpios = <&gpio9 7 GPIO_OUTPUT_HIGH>;
			enum-name = "GPIO_EN_KEYBOARD_BACKLIGHT";
		};
		gpio_ec_kso_02_inv: ec_kso_02_inv {
			gpios = <&gpio1 7 (GPIO_OUTPUT_LOW | GPIO_ACTIVE_LOW)>;
		};
		tablet_mode_l {
			gpios = <&gpioc 1 GPIO_INPUT>;
			enum-name = "GPIO_TABLET_MODE_L";
		};
		ec_gpio56 {
			gpios = <&gpio5 6 GPIO_INPUT_PULL_UP>;
		};
		ec_flprg2 {
			gpios = <&gpio8 6 GPIO_INPUT_PULL_UP>;
		};

		usb_c0_tcpc_fastsw_ctl_en {
			gpios = <&ioex_c0_port0 4 GPIO_OUTPUT_LOW>;
			enum-name = "IOEX_USB_C0_TCPC_FASTSW_CTL_EN";
		};
		usb_c0_ppc_en_l {
			gpios = <&ioex_c0_port1 0 GPIO_OUTPUT_LOW>;
		};
		ioex_usb_c0_ilim_3a_en: usb_c0_ppc_ilim_3a_en {
			gpios = <&ioex_c0_port1 1 GPIO_OUTPUT_LOW>;
			enum-name = "IOEX_USB_C0_PPC_ILIM_3A_EN";
		};
		ioex_usb_c0_sbu_fault_odl: usb_c0_sbu_fault_odl {
			gpios = <&ioex_c0_port1 2 GPIO_INPUT>;
		};
		ioex_en_pp5000_usb_a0_vbus: en_pp5000_usb_a0_vbus {
			gpios = <&ioex_c0_port1 5 GPIO_OUTPUT_LOW>;
		};
		ioex_usb_a0_fault_odl: usb_a0_fault_odl {
			gpios = <&ioex_c0_port1 6 GPIO_INPUT>;
		};
		ioex_usb_c0_sbu_flip: usb_c0_sbu_flip {
			gpios = <&ioex_c0_port1 7 GPIO_OUTPUT_LOW>;
			enum-name = "IOEX_USB_C0_SBU_FLIP";
		};

		usb_a1_retimer_en {
			gpios = <&ioex_c1_port0 0 GPIO_OUTPUT_LOW>;
			enum-name = "IOEX_USB_A1_RETIMER_EN";
		};
		usb_a1_retimer_rst {
			gpios = <&ioex_c1_port0 1 GPIO_OUTPUT_LOW>;
		};
		usb_c1_in_hpd {
			gpios = <&ioex_c1_port0 3 GPIO_OUTPUT_LOW>;
			enum-name = "IOEX_USB_C1_HPD_IN_DB";
		};
		usb_c1_tcpc_fastsw_ctl_en {
			gpios = <&ioex_c1_port0 4 GPIO_OUTPUT_LOW>;
			enum-name = "IOEX_USB_C1_TCPC_FASTSW_CTL_EN";
		};
		usb_c1_ppc_en_l {
			gpios = <&ioex_c1_port1 0 GPIO_OUTPUT_LOW>;
		};
		usb_c1_ppc_ilim_3a_en {
			gpios = <&ioex_c1_port1 1 GPIO_OUTPUT_LOW>;
			enum-name = "IOEX_USB_C1_PPC_ILIM_3A_EN";
		};
		ioex_usb_c1_sbu_fault_odl: usb_c1_sbu_fault_odl {
			gpios = <&ioex_c1_port1 2 GPIO_INPUT>;
			enum-name = "IOEX_USB_C1_FAULT_ODL";
		};
		ioex_en_pp5000_usb_a1_vbus: en_pp5000_usb_a1_vbus {
			gpios = <&ioex_c1_port1 5 GPIO_OUTPUT_LOW>;
		};
		ioex_usb_a1_fault_db_odl: usb_a1_fault_db_odl {
			gpios = <&ioex_c1_port1 6 GPIO_INPUT>;
		};
		ioex_usb_c1_sbu_flip: usb_c1_sbu_flip {
			gpios = <&ioex_c1_port1 7 GPIO_OUTPUT_LOW>;
			enum-name = "IOEX_USB_C1_SBU_FLIP";
		};
	};

	usba-port-enable-list {
		compatible = "cros-ec,usba-port-enable-pins";
		enable-pins = <&ioex_en_pp5000_usb_a0_vbus
			       &ioex_en_pp5000_usb_a1_vbus>;
	};
};

/* PSL input pads*/
&psl_in1_gpd2 {
	/* MECH_PWR_BTN_ODL */
	psl-in-mode = "edge";
	psl-in-pol = "low-falling";
};

&psl_in2_gp00 {
	/* ACOK_OD */
	psl-in-mode = "edge";
	psl-in-pol = "high-rising";
};

&psl_in4_gp02 {
	/* LID_OPEN */
	psl-in-mode = "edge";
	psl-in-pol = "high-rising";
};

/* Power domain device controlled by PSL (Power Switch Logic) IO pads */
&power_ctrl_psl {
	status = "okay";
	pinctrl-names = "sleep";
	pinctrl-0 = <&psl_in1_gpd2 &psl_in2_gp00 &psl_in4_gp02>;
};

/* host interface */
&espi0 {
	status = "okay";
	pinctrl-0 = <&espi_lpc_gp46_47_51_52_53_54_55_57>;
	pinctrl-names = "default";
};
>>>>>>> BRANCH (2c3025 PCHG: Print next event in pchg console command)
```

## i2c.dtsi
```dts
/* Copyright 2021 The ChromiumOS Authors
 * Use of this source code is governed by a BSD-style license that can be
 * found in the LICENSE file.
 */

 #include <dt-bindings/usb_pd_tcpm.h>
 #include <dt-bindings/usbc_mux.h>

/ {
	aliases {
		i2c-0 = &i2c0_0;
		i2c-1 = &i2c1_0;
		i2c-2 = &i2c2_0;
		i2c-3 = &i2c3_0;
		i2c-4 = &i2c4_1;
		i2c-5 = &i2c5_0;
		i2c-7 = &i2c7_0;
	};

	named-i2c-ports {
		compatible = "named-i2c-ports";

		i2c_tcpc0: tcpc0 {
			i2c-port = <&i2c0_0>;
			enum-names = "I2C_PORT_TCPC0";
		};

		i2c_tcpc1: tcpc1 {
			i2c-port = <&i2c1_0>;
			enum-names = "I2C_PORT_TCPC1";
		};

		battery {
			i2c-port = <&i2c2_0>;
			remote-port = <0>;
			enum-names = "I2C_PORT_BATTERY";
		};

		usb-mux {
			i2c-port = <&i2c3_0>;
			enum-names = "I2C_PORT_USB_MUX";
		};

		i2c_charger: charger {
			i2c-port = <&i2c4_1>;
			enum-names = "I2C_PORT_CHARGER";
		};

		eeprom {
			i2c-port = <&i2c5_0>;
			enum-names = "I2C_PORT_EEPROM";
		};

		i2c_sensor: sensor {
			i2c-port = <&i2c6_1>;
			enum-names = "I2C_PORT_SENSOR";
		};

		i2c_soc_thermal: soc-thermal {
			i2c-port = <&i2c7_0>;
			enum-names = "I2C_PORT_THERMAL_AP";
		};
	};


};

&i2c0_0 {
	status = "okay";
	label = "I2C_TCPC0";
	clock-frequency = <I2C_BITRATE_FAST>;
	pinctrl-0 = <&i2c0_0_sda_scl_gpb4_b5>;
	pinctrl-names = "default";

	bc12_port0: pi3usb9201@5f {
		compatible = "pericom,pi3usb9201";
		status = "okay";
		reg = <0x5f>;
		irq = <&int_usb_c0_bc12>;
	};

	tcpc_port0: nct38xx@70 {
		compatible = "nuvoton,nct38xx";
		reg = <0x70>;
		gpio-dev = <&nct3807_C0>;
		tcpc-flags = <(TCPC_FLAGS_TCPCI_REV2_0)>;
		/* a duplicate of the <&gpio_usb_c0_tcpc_int_odl> node in
		 * "named-gpios". This is the Zephyr preferred style,
		 * the "named-gpios" node will be dealt with at a later date.
		 */
		irq-gpios = <&gpioe 0 GPIO_ACTIVE_LOW>;
	};

<<<<<<< HEAD   (3d39e5 markarth: Correct cosmx_ap20cbl match point.)
	nct3807_C0: nct3807_C0@70 {
		#address-cells = <1>;
		#size-cells = <0>;
		compatible = "nuvoton,nct38xx-gpio";
		reg = <0x70>;
		label = "NCT3807_C0";

		ioex_c0_port0: gpio@0 {
			compatible = "nuvoton,nct38xx-gpio-port";
			reg = <0x0>;
			label = "NCT3807_C0_GPIO0";
			gpio-controller;
			#gpio-cells = <2>;
			ngpios = <8>;
			pin_mask = <0xff>;
			pinmux_mask = <0xf7>;
=======
		tcpc_port0: nct38xx-tcpc {
			compatible = "nuvoton,nct38xx-tcpc";
			gpio-dev = <&nct38xx_gpio_C0>;
			tcpc-flags = <(TCPC_FLAGS_TCPCI_REV2_0)>;
			/* a duplicate of the <&gpio_usb_c0_tcpc_int_odl> node
			 * in "named-gpios". This is the Zephyr preferred style,
			 * the "named-gpios" node will be dealt with at a later
			 * date.
			 */
			irq-gpios = <&gpioe 0 GPIO_ACTIVE_LOW>;
			/* a duplicate of the <&gpio_usb_c0_tcpc_rst_l> node in
			 * named-gpios". This is the Zephyr preferred style,
			 * the "named-gpios" node will be dealt with at a later
			 * date.
			 */
			rst-gpios = <&gpio3 4 GPIO_ACTIVE_LOW>;
>>>>>>> CHANGE (00bfe6 skyrim: Fix nct38xx gpio-dev device pointing to wrong device)
		};
<<<<<<< HEAD   (3d39e5 markarth: Correct cosmx_ap20cbl match point.)
		ioex_c0_port1: gpio@1 {
			compatible = "nuvoton,nct38xx-gpio-port";
			reg = <0x1>;
			label = "NCT3807_C0_GPIO1";
			gpio-controller;
			#gpio-cells = <2>;
			ngpios = <8>;
			pin_mask = <0xff>;
=======

		nct38xx_gpio_C0: nct38xx-gpio {
			#address-cells = <1>;
			#size-cells = <0>;
			compatible = "nuvoton,nct38xx-gpio";
			label = "NCT3807_C0";

			ioex_c0_port0: gpio@0 {
				compatible = "nuvoton,nct38xx-gpio-port";
				reg = <0x0>;
				label = "NCT3807_C0_GPIO0";
				gpio-controller;
				#gpio-cells = <2>;
				ngpios = <8>;
				pin_mask = <0xff>;
				pinmux_mask = <0xf7>;
			};
			ioex_c0_port1: gpio@1 {
				compatible = "nuvoton,nct38xx-gpio-port";
				reg = <0x1>;
				label = "NCT3807_C0_GPIO1";
				gpio-controller;
				#gpio-cells = <2>;
				ngpios = <8>;
				pin_mask = <0xff>;
			};
>>>>>>> CHANGE (00bfe6 skyrim: Fix nct38xx gpio-dev device pointing to wrong device)
		};
	};

	nct3808_alert_0 {
		compatible = "nuvoton,nct38xx-gpio-alert";
		irq-gpios = <&gpioe 0 GPIO_ACTIVE_LOW>;
		nct38xx-dev = <&nct3807_C0>;
		label = "NCT3807_ALERT_0";
	};

	anx7483_port0: anx7483@3e {
		compatible = "analogix,anx7483";
		reg = <0x3e>;
		board-set = "board_anx7483_c0_mux_set";
		flags = <USB_MUX_FLAG_RESETS_IN_G3>;
	};

	ppc_port0: nx20p348x@71 {
		compatible = "nxp,nx20p348x";
		status = "okay";
		reg = <0x71>;
	};
};

&i2c_ctrl0 {
	status = "okay";
};

&i2c1_0 {
	status = "okay";
	label = "I2C_TCPC1";
	clock-frequency = <I2C_BITRATE_FAST>;
	pinctrl-0 = <&i2c1_0_sda_scl_gp87_90>;
	pinctrl-names = "default";

	bc12_port1: pi3usb9201@5f {
		compatible = "pericom,pi3usb9201";
		status = "okay";
		reg = <0x5f>;
		irq = <&int_usb_c1_bc12>;
	};

	tcpc_port1: nct38xx@70 {
		compatible = "nuvoton,nct38xx";
		reg = <0x70>;
		gpio-dev = <&nct3807_C1>;
		tcpc-flags = <(TCPC_FLAGS_TCPCI_REV2_0)>;
		/* a duplicate of the <&gpio_usb_c1_tcpc_int_odl> node in
		 * "named-gpios". This is the Zephyr preferred style,
		 * the "named-gpios" node will be dealt with at a later date.
		 */
		irq-gpios = <&gpioc 7 GPIO_ACTIVE_LOW>;
	};

<<<<<<< HEAD   (3d39e5 markarth: Correct cosmx_ap20cbl match point.)
	nct3807_C1: nct3807_C1@70 {
		#address-cells = <1>;
		#size-cells = <0>;
		compatible = "nuvoton,nct38xx-gpio";
		reg = <0x70>;
		label = "NCT3807_C1";

		ioex_c1_port0: gpio@0 {
			compatible = "nuvoton,nct38xx-gpio-port";
			reg = <0x0>;
			label = "NCT3807_C1_GPIO0";
			gpio-controller;
			#gpio-cells = <2>;
			ngpios = <8>;
			pin_mask = <0xff>;
			pinmux_mask = <0xf7>;
=======
		tcpc_port1: nct38xx-tcpc {
			compatible = "nuvoton,nct38xx-tcpc";
			gpio-dev = <&nct38xx_gpio_C1>;
			tcpc-flags = <(TCPC_FLAGS_TCPCI_REV2_0)>;
			/* a duplicate of the <&gpio_usb_c1_tcpc_int_odl> node
			 * in "named-gpios". This is the Zephyr preferred style,
			 * the "named-gpios" node will be dealt with at a later
			 * date.
			 */
			irq-gpios = <&gpioc 7 GPIO_ACTIVE_LOW>;
			/* a duplicate of the <&gpio_usb_c1_tcpc_rst_l> node
			 * in "named-gpios". This is the Zephyr preferred style,
			 * the "named-gpios" node will be dealt with at a later
			 * date.
			 */
			rst-gpios = <&gpio3 7 GPIO_ACTIVE_LOW>;
>>>>>>> CHANGE (00bfe6 skyrim: Fix nct38xx gpio-dev device pointing to wrong device)
		};
<<<<<<< HEAD   (3d39e5 markarth: Correct cosmx_ap20cbl match point.)
		ioex_c1_port1: gpio@1 {
			compatible = "nuvoton,nct38xx-gpio-port";
			reg = <0x1>;
			label = "NCT3807_C1_GPIO1";
			gpio-controller;
			#gpio-cells = <2>;
			ngpios = <8>;
			pin_mask = <0xff>;
=======

		nct38xx_gpio_C1: nct38xx-gpio {
			#address-cells = <1>;
			#size-cells = <0>;
			compatible = "nuvoton,nct38xx-gpio";
			label = "NCT3807_C1";

			ioex_c1_port0: gpio@0 {
				compatible = "nuvoton,nct38xx-gpio-port";
				reg = <0x0>;
				label = "NCT3807_C1_GPIO0";
				gpio-controller;
				#gpio-cells = <2>;
				ngpios = <8>;
				pin_mask = <0xff>;
				pinmux_mask = <0xf7>;
			};
			ioex_c1_port1: gpio@1 {
				compatible = "nuvoton,nct38xx-gpio-port";
				reg = <0x1>;
				label = "NCT3807_C1_GPIO1";
				gpio-controller;
				#gpio-cells = <2>;
				ngpios = <8>;
				pin_mask = <0xff>;
			};
>>>>>>> CHANGE (00bfe6 skyrim: Fix nct38xx gpio-dev device pointing to wrong device)
		};
	};

	nct3808_alert_1 {
		compatible = "nuvoton,nct38xx-gpio-alert";
		irq-gpios = <&gpioc 7 GPIO_ACTIVE_LOW>;
		nct38xx-dev = <&nct3807_C1>;
		label = "NCT3807_ALERT_1";
	};

	anx7483_port1: anx7483@3e {
		compatible = "analogix,anx7483";
		reg = <0x3e>;
		board-set = "board_anx7483_c1_mux_set";
		flags = <USB_MUX_FLAG_RESETS_IN_G3>;
	};

	ppc_port1: nx20p348x@71 {
		compatible = "nxp,nx20p348x";
		status = "okay";
		reg = <0x71>;
	};

	ps8818_port1: ps8818@28 {
		compatible = "parade,ps8818";
		reg = <0x28>;
		flags = <(USB_MUX_FLAG_RESETS_IN_G3)>;
		board-set = "board_c1_ps8818_mux_set";
	};
};

&i2c_ctrl1 {
	status = "okay";
};

&i2c2_0 {
	status = "okay";
	label = "I2C_BATTERY";
	clock-frequency = <I2C_BITRATE_STANDARD>;
	pinctrl-0 = <&i2c2_0_sda_scl_gp91_92>;
	pinctrl-names = "default";
};

&i2c_ctrl2 {
	status = "okay";
};

&i2c3_0 {
	status = "okay";
	label = "I2C_USB_MUX";
	clock-frequency = <I2C_BITRATE_FAST>;
	pinctrl-0 = <&i2c3_0_sda_scl_gpd0_d1>;
	pinctrl-names = "default";

	amd_fp6_port0: amd_fp6@5c {
		compatible = "amd,usbc-mux-amd-fp6";
		status = "okay";
		reg = <0x5c>;

		board-set = "board_mux_set";
	};
	amd_fp6_port1: amd_fp6@52 {
		compatible = "amd,usbc-mux-amd-fp6";
		status = "okay";
		reg = <0x52>;

		board-set = "board_mux_set";
	};
};

&i2c_ctrl3 {
	status = "okay";
};

&i2c4_1 {
	status = "okay";
	label = "I2C_CHARGER";
	clock-frequency = <I2C_BITRATE_FAST>;
	pinctrl-0 = <&i2c4_1_sda_scl_gpf2_f3>;
	pinctrl-names = "default";

	charger: isl9241@9 {
		compatible = "intersil,isl9241";
		status = "okay";
		reg = <0x9>;
	};

	alt_charger: isl9538@9 {
		compatible = "intersil,isl923x";
		status = "okay";
		reg = <0x9>;
	};
};

&i2c_ctrl4 {
	status = "okay";
};

&i2c5_0 {
	status = "okay";
	label = "I2C_EEPROM";
	clock-frequency = <I2C_BITRATE_FAST>;
	pinctrl-0 = <&i2c5_0_sda_scl_gp33_36>;
	pinctrl-names = "default";

	cbi_eeprom: eeprom@50 {
		compatible = "atmel,at24";
		reg = <0x50>;
		size = <2048>;
		pagesize = <16>;
		address-width = <8>;
		timeout = <5>;
	};
};

&i2c_ctrl5 {
	status = "okay";
};

&i2c6_1 {
	status = "okay";
	label = "I2C_SENSOR";
	clock-frequency = <I2C_BITRATE_FAST>;
	pinctrl-0 = <&i2c6_1_sda_scl_gpe3_e4>;
	pinctrl-names = "default";

	soc_pct2075: soc-pct2075@48 {
		compatible = "nxp,pct2075";
		reg = <0x48>;
	};

	amb_pct2075: amb-pct2075@4f {
		compatible = "nxp,pct2075";
		reg = <0x4f>;
	};
};

&i2c_ctrl6 {
	status = "okay";
};

&i2c7_0 {
	status = "okay";
	label = "I2C_THERMAL_AP";
	clock-frequency = <I2C_BITRATE_FAST>;
	pinctrl-0 = <&i2c7_0_sda_scl_gpb2_b3>;
	pinctrl-names = "default";

	temp_cpu: cpu@4c {
		compatible = "amd,sb-tsi";
		reg = <0x4c>;
	};
};

&i2c_ctrl7 {
	status = "okay";
};
```

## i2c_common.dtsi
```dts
/* Copyright 2021 The ChromiumOS Authors
 * Use of this source code is governed by a BSD-style license that can be
 * found in the LICENSE file.
 */

 #include <dt-bindings/usb_pd_tcpm.h>

/ {
	aliases {
		i2c-0 = &i2c0_0;
		i2c-1 = &i2c1_0;
		i2c-2 = &i2c2_0;
		i2c-3 = &i2c3_0;
		i2c-4 = &i2c4_1;
		i2c-5 = &i2c5_0;
		i2c-7 = &i2c7_0;
	};

	named-i2c-ports {
		compatible = "named-i2c-ports";

		i2c_tcpc0: tcpc0 {
			i2c-port = <&i2c0_0>;
			enum-names = "I2C_PORT_TCPC0";
		};

		i2c_tcpc1: tcpc1 {
			i2c-port = <&i2c1_0>;
			enum-names = "I2C_PORT_TCPC1";
		};

		battery {
			i2c-port = <&i2c2_0>;
			remote-port = <0>;
			enum-names = "I2C_PORT_BATTERY";
		};

		usb-mux {
			i2c-port = <&i2c3_0>;
			enum-names = "I2C_PORT_USB_MUX";
		};

		i2c_charger: charger {
			i2c-port = <&i2c4_1>;
			enum-names = "I2C_PORT_CHARGER";
		};

		eeprom {
			i2c-port = <&i2c5_0>;
			enum-names = "I2C_PORT_EEPROM";
		};

		i2c_sensor: sensor {
			i2c-port = <&i2c6_1>;
			enum-names = "I2C_PORT_SENSOR";
		};

		i2c_soc_thermal: soc-thermal {
			i2c-port = <&i2c7_0>;
			enum-names = "I2C_PORT_THERMAL_AP";
		};
	};


};

&i2c0_0 {
	status = "okay";
	label = "I2C_TCPC0";
	clock-frequency = <I2C_BITRATE_FAST>;
	pinctrl-0 = <&i2c0_0_sda_scl_gpb4_b5>;
	pinctrl-names = "default";

	bc12_port0: pi3usb9201@5f {
		compatible = "pericom,pi3usb9201";
		status = "okay";
		reg = <0x5f>;
		irq = <&int_usb_c0_bc12>;
	};

	tcpc_port0: nct38xx@70 {
		compatible = "nuvoton,nct38xx";
		reg = <0x70>;
		gpio-dev = <&nct3807_C0>;
		tcpc-flags = <(TCPC_FLAGS_TCPCI_REV2_0)>;
		int-pin = <&gpio_usb_c0_tcpc_int_odl>;
	};

	nct3807_C0: nct3807_C0@70 {
		#address-cells = <1>;
		#size-cells = <0>;
		compatible = "nuvoton,nct38xx-gpio";
		reg = <0x70>;
		label = "NCT3807_C0";

		ioex_c0_port0: gpio@0 {
			compatible = "nuvoton,nct38xx-gpio-port";
			reg = <0x0>;
			label = "NCT3807_C0_GPIO0";
			gpio-controller;
			#gpio-cells = <2>;
			ngpios = <8>;
			pin_mask = <0xff>;
			pinmux_mask = <0xf7>;
		};
		ioex_c0_port1: gpio@1 {
			compatible = "nuvoton,nct38xx-gpio-port";
			reg = <0x1>;
			label = "NCT3807_C0_GPIO1";
			gpio-controller;
			#gpio-cells = <2>;
			ngpios = <8>;
			pin_mask = <0xff>;
		};
	};

	nct3808_alert_0 {
		compatible = "nuvoton,nct38xx-gpio-alert";
		irq-gpios = <&gpioe 0 GPIO_ACTIVE_LOW>;
		nct38xx-dev = <&nct3807_C0>;
		label = "NCT3807_ALERT_0";
	};
};

&i2c_ctrl0 {
	status = "okay";
};

&i2c1_0 {
	status = "okay";
	label = "I2C_TCPC1";
	clock-frequency = <I2C_BITRATE_FAST>;
	pinctrl-0 = <&i2c1_0_sda_scl_gp87_90>;
	pinctrl-names = "default";

	bc12_port1: pi3usb9201@5f {
		compatible = "pericom,pi3usb9201";
		status = "okay";
		reg = <0x5f>;
		irq = <&int_usb_c1_bc12>;
	};

	tcpc_port1: nct38xx@70 {
		compatible = "nuvoton,nct38xx";
		reg = <0x70>;
		gpio-dev = <&nct3807_C1>;
		tcpc-flags = <(TCPC_FLAGS_TCPCI_REV2_0)>;
		int-pin = <&gpio_usb_c1_tcpc_int_odl>;
	};

	nct3807_C1: nct3807_C1@70 {
		#address-cells = <1>;
		#size-cells = <0>;
		compatible = "nuvoton,nct38xx-gpio";
		reg = <0x70>;
		label = "NCT3807_C1";

		ioex_c1_port0: gpio@0 {
			compatible = "nuvoton,nct38xx-gpio-port";
			reg = <0x0>;
			label = "NCT3807_C1_GPIO0";
			gpio-controller;
			#gpio-cells = <2>;
			ngpios = <8>;
			pin_mask = <0xff>;
			pinmux_mask = <0xf7>;
		};
		ioex_c1_port1: gpio@1 {
			compatible = "nuvoton,nct38xx-gpio-port";
			reg = <0x1>;
			label = "NCT3807_C1_GPIO1";
			gpio-controller;
			#gpio-cells = <2>;
			ngpios = <8>;
			pin_mask = <0xff>;
		};
	};

	nct3808_alert_1 {
		compatible = "nuvoton,nct38xx-gpio-alert";
		irq-gpios = <&gpioc 7 GPIO_ACTIVE_LOW>;
		nct38xx-dev = <&nct3807_C1>;
		label = "NCT3807_ALERT_1";
	};
};

&i2c_ctrl1 {
	status = "okay";
};

&i2c2_0 {
	status = "okay";
	label = "I2C_BATTERY";
	clock-frequency = <I2C_BITRATE_STANDARD>;
	pinctrl-0 = <&i2c2_0_sda_scl_gp91_92>;
	pinctrl-names = "default";
};

&i2c_ctrl2 {
	status = "okay";
};

&i2c3_0 {
	status = "okay";
	label = "I2C_USB_MUX";
	clock-frequency = <I2C_BITRATE_FAST>;
	pinctrl-0 = <&i2c3_0_sda_scl_gpd0_d1>;
	pinctrl-names = "default";

	amd_fp6_port0: amd_fp6@5c {
		compatible = "amd,usbc-mux-amd-fp6";
		status = "okay";
		reg = <0x5c>;
	};
	amd_fp6_port1: amd_fp6@52 {
		compatible = "amd,usbc-mux-amd-fp6";
		status = "okay";
		reg = <0x52>;
	};
};

&i2c_ctrl3 {
	status = "okay";
};

&i2c4_1 {
	status = "okay";
	label = "I2C_CHARGER";
	clock-frequency = <I2C_BITRATE_FAST>;
	pinctrl-0 = <&i2c4_1_sda_scl_gpf2_f3>;
	pinctrl-names = "default";
};

&i2c_ctrl4 {
	status = "okay";
};

&i2c5_0 {
	status = "okay";
	label = "I2C_EEPROM";
	clock-frequency = <I2C_BITRATE_FAST>;
	pinctrl-0 = <&i2c5_0_sda_scl_gp33_36>;
	pinctrl-names = "default";

	cbi_eeprom: eeprom@50 {
		compatible = "atmel,at24";
		reg = <0x50>;
		size = <2048>;
		pagesize = <16>;
		address-width = <8>;
		timeout = <5>;
	};
};

&i2c_ctrl5 {
	status = "okay";
};

&i2c6_1 {
	status = "okay";
	label = "I2C_SENSOR";
	clock-frequency = <I2C_BITRATE_FAST>;
	pinctrl-0 = <&i2c6_1_sda_scl_gpe3_e4>;
	pinctrl-names = "default";

	soc_pct2075: soc-pct2075@48 {
		compatible = "nxp,pct2075";
		reg = <0x48>;
	};

	amb_pct2075: amb-pct2075@4f {
		compatible = "nxp,pct2075";
		reg = <0x4f>;
	};
};

&i2c_ctrl6 {
	status = "okay";
};

&i2c7_0 {
	status = "okay";
	label = "I2C_THERMAL_AP";
	clock-frequency = <I2C_BITRATE_FAST>;
	pinctrl-0 = <&i2c7_0_sda_scl_gpb2_b3>;
	pinctrl-names = "default";

	temp_cpu: cpu@4c {
		compatible = "amd,sb-tsi";
		reg = <0x4c>;
	};
};

&i2c_ctrl7 {
	status = "okay";
};
```

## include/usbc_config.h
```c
/* Copyright 2022 The ChromiumOS Authors
 * Use of this source code is governed by a BSD-style license that can be
 * found in the LICENSE file.
 */

/* Common definitions to help with tests. */

#ifndef __SKYRIM_USBC_CONFIG_H
#define __SKYRIM_USBC_CONFIG_H

#define SKYRIM_BC12_MIN_VOLTAGE 4500
#define SKYRIM_SAFE_RESET_VBUS_MV 5000

#endif /* __SKYRIM_USBC_CONFIG_H */
```

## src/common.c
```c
/* Copyright 2022 The ChromiumOS Authors
 * Use of this source code is governed by a BSD-style license that can be
 * found in the LICENSE file.
 */

#include "i2c.h"

#include <zephyr/logging/log.h>

LOG_MODULE_REGISTER(skyrim, CONFIG_SKYRIM_LOG_LEVEL);

int board_allow_i2c_passthru(const struct i2c_cmd_desc_t *cmd_desc)
{
	/* Passthrough isn't used on Skyrim. */
	return 0;
}
```

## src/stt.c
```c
/* Copyright 2022 The ChromiumOS Authors
 * Use of this source code is governed by a BSD-style license that can be
 * found in the LICENSE file.
 */

/* Support code for STT temperature reporting */

#include "chipset.h"
#include "temp_sensor/f75303.h"
#include "temp_sensor/pct2075.h"
#include "temp_sensor/temp_sensor.h"

int board_get_soc_temp_mk(int *temp_mk)
{
	if (chipset_in_state(CHIPSET_STATE_HARD_OFF))
		return EC_ERROR_NOT_POWERED;

#ifdef CONFIG_TEMP_SENSOR_PCT2075
	return pct2075_get_val_mk(PCT2075_SENSOR_ID(DT_NODELABEL(soc_pct2075)),
				  temp_mk);
#else
	return f75303_get_val_mk(F75303_SENSOR_ID(DT_NODELABEL(local_f75303)),
				 temp_mk);
#endif
}

int board_get_ambient_temp_mk(int *temp_mk)
{
	if (chipset_in_state(CHIPSET_STATE_HARD_OFF))
		return EC_ERROR_NOT_POWERED;

#ifdef CONFIG_TEMP_SENSOR_PCT2075
	return pct2075_get_val_mk(PCT2075_SENSOR_ID(DT_NODELABEL(amb_pct2075)),
				  temp_mk);
#else
	return f75303_get_val_mk(F75303_SENSOR_ID(DT_NODELABEL(remote1_f75303)),
				 temp_mk);
#endif
}
```
